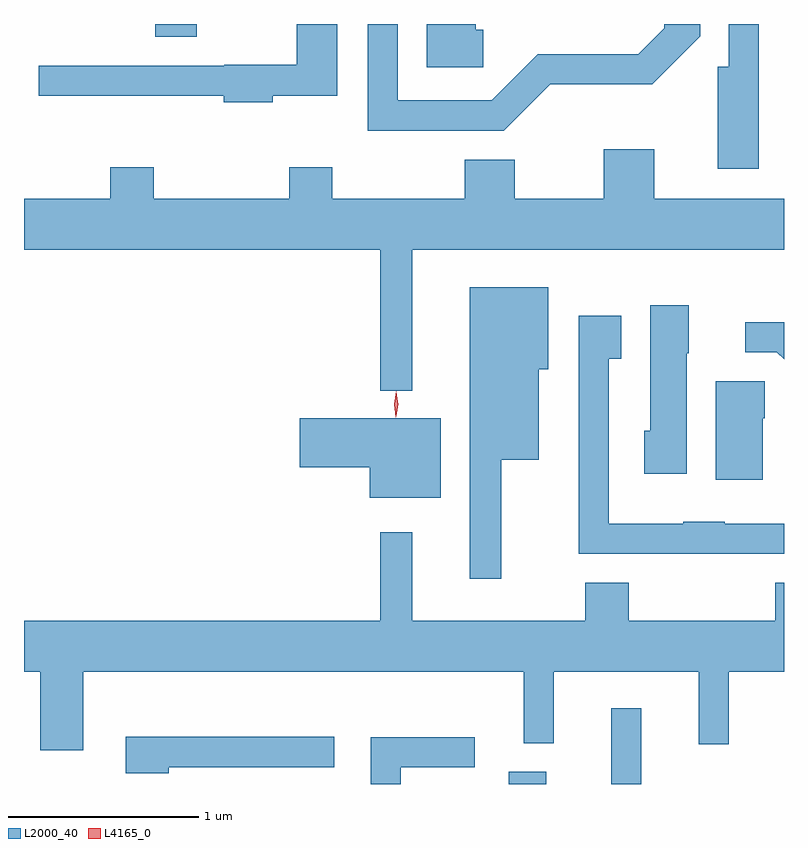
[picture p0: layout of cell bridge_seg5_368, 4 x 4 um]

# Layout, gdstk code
import gdstk
lib = gdstk.Library(unit=1e-6, precision=1e-09)
def R(c, l, rs):  # rectangles x0, y0, x1, y1
    for r in rs: c.add(gdstk.rectangle(r[:2], r[2:], *l))
def P(c, l, *ps):  # polygons
    for p in ps: c.add(gdstk.Polygon(p, *l))
L2000_40 = (2000, 40)
L4165_0 = (4165, 0)

bridge_seg5_368 = lib.new_cell('bridge_seg5_368')
R(bridge_seg5_368, L2000_40, [(438.396,1476.184,438.594,1476.249), (438.936,1476.184,439.094,1476.583), (436.536,1480.116,436.754,1480.184)])
P(bridge_seg5_368, L2000_40, [(439.714,1480.184),(439.556,1480.184),(439.556,1479.959),(439.496,1479.959),(439.496,1479.421),(439.714,1479.421)],
  [(438.264,1480.154),(438.224,1480.154),(438.224,1480.184),(437.966,1480.184),(437.966,1479.956),(438.264,1479.956)],
  [(438.617,1479.866),(439.152,1479.866),(439.404,1480.119),(439.404,1480.184),(439.216,1480.184),(439.216,1480.162),(439.079,1480.024),(438.549,1480.024),(438.309,1479.784),(437.814,1479.784),(437.814,1480.184),(437.656,1480.184),(437.656,1479.621),(438.372,1479.621)],
  [(437.154,1479.806),(437.494,1479.806),(437.494,1480.184),(437.281,1480.184),(437.281,1479.969),(436.9,1479.969),(436.9,1479.964),(435.923,1479.964),(435.923,1479.806),(436.896,1479.806),(436.896,1479.771),(437.154,1479.771)],
  [(437.889,1478.996),(439.846,1478.996),(439.846,1479.264),(439.164,1479.264),(439.164,1479.524),(438.896,1479.524),(438.896,1479.264),(438.429,1479.264),(438.429,1479.469),(438.166,1479.469),(438.166,1479.264),(437.469,1479.264),(437.469,1479.429),(437.241,1479.429),(437.241,1479.264),(436.529,1479.264),(436.529,1479.429),(436.301,1479.429),(436.301,1479.264),(435.846,1479.264),(435.846,1478.996),(437.721,1478.996),(437.721,1478.253),(437.889,1478.253)],
  [(438.359,1477.891),(438.554,1477.891),(438.554,1478.366),(438.604,1478.366),(438.604,1478.799),(438.191,1478.799),(438.191,1477.263),(438.359,1477.263)],
  [(439.334,1478.45),(439.344,1478.45),(439.344,1478.704),(439.141,1478.704),(439.141,1478.044),(439.111,1478.044),(439.111,1477.816),(439.334,1477.816)],
  [(439.846,1477.554),(439.535,1477.554),(439.535,1477.564),(439.315,1477.564),(439.315,1477.554),(438.924,1477.554),(438.924,1478.421),(438.989,1478.421),(438.989,1478.649),(438.766,1478.649),(438.766,1477.396),(439.846,1477.396)],
  [(439.846,1478.614),(439.643,1478.614),(439.643,1478.456),(439.809,1478.456),(439.846,1478.419)],
  [(439.734,1478.11),(439.744,1478.11),(439.744,1478.304),(439.486,1478.304),(439.486,1477.786),(439.734,1477.786)],
  [(438.039,1478.109),(437.296,1478.109),(437.296,1477.851),(437.666,1477.851),(437.666,1477.691),(438.039,1477.691)],
  [(436.159,1476.776),(438.476,1476.776),(438.476,1476.398),(438.634,1476.398),(438.634,1476.776),(439.396,1476.776),(439.396,1476.393),(439.554,1476.393),(439.554,1476.776),(439.846,1476.776),(439.846,1477.244),(439.801,1477.244),(439.801,1477.044),(439.029,1477.044),(439.029,1477.244),(438.801,1477.244),(438.801,1477.044),(437.889,1477.044),(437.889,1477.508),(437.721,1477.508),(437.721,1477.044),(435.846,1477.044),(435.846,1476.776),(435.931,1476.776),(435.931,1476.361),(436.159,1476.361)],
  [(436.609,1476.271),(437.478,1476.271),(437.478,1476.434),(436.381,1476.434),(436.381,1476.241),(436.609,1476.241)],
  [(437.829,1476.271),(438.218,1476.271),(438.218,1476.429),(437.671,1476.429),(437.671,1476.184),(437.829,1476.184)])
P(bridge_seg5_368, L4165_0, [(437.802,1478.114),(437.794,1478.182),(437.804,1478.25),(437.805,1478.25),(437.805,1478.25),(437.814,1478.182),(437.803,1478.114),(437.803,1478.114)],
  [(437.804,1478.12),(437.795,1478.183),(437.804,1478.246),(437.805,1478.247),(437.805,1478.246),(437.815,1478.183),(437.805,1478.12),(437.805,1478.12)])

lib.write_gds('bridge_seg5_368.gds')
